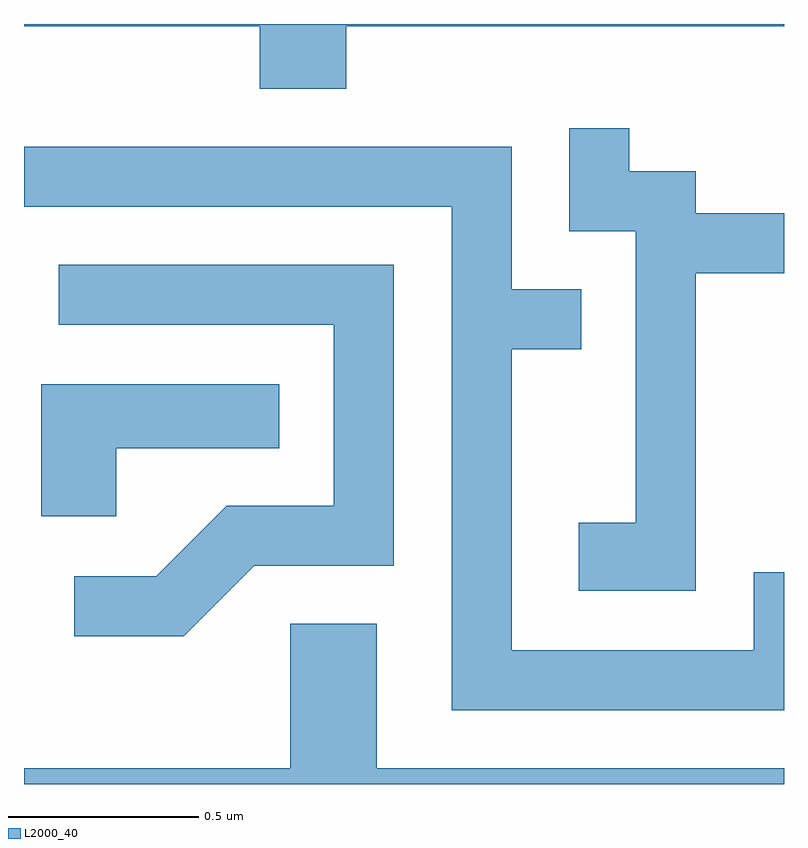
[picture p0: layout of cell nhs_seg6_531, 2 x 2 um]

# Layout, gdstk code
import gdstk
lib = gdstk.Library(unit=1e-6, precision=1e-09)
def P(c, l, *ps):  # polygons
    for p in ps: c.add(gdstk.Polygon(p, *l))
L2000_40 = (2000, 40)

nhs_seg6_531 = lib.new_cell('nhs_seg6_531')
P(nhs_seg6_531, L2000_40, [(189.459,1652.156),(190.611,1652.156),(190.611,1652.162),(188.611,1652.162),(188.611,1652.156),(189.231,1652.156),(189.231,1651.991),(189.459,1651.991)],
  [(190.379,1651.506),(190.611,1651.506),(190.611,1651.664),(190.379,1651.664),(190.379,1651.774),(190.204,1651.774),(190.204,1651.888),(190.046,1651.888),(190.046,1651.616),(190.221,1651.616),(190.221,1650.849),(190.071,1650.849),(190.071,1650.671),(190.379,1650.671)],
  [(190.611,1650.719),(190.531,1650.719),(190.531,1650.514),(189.894,1650.514),(189.894,1651.306),(190.078,1651.306),(190.078,1651.464),(189.894,1651.464),(189.894,1651.839),(188.611,1651.839),(188.611,1651.681),(189.736,1651.681),(189.736,1650.356),(190.611,1650.356)],
  [(189.217,1650.736),(189.584,1650.736),(189.584,1651.529),(188.703,1651.529),(188.703,1651.371),(189.426,1651.371),(189.426,1650.894),(189.144,1650.894),(188.959,1650.709),(188.743,1650.709),(188.743,1650.551),(189.032,1650.551)],
  [(188.854,1651.046),(189.283,1651.046),(189.283,1651.214),(188.656,1651.214),(188.656,1650.866),(188.854,1650.866)],
  [(190.611,1650.204),(189.539,1650.204),(189.539,1650.584),(189.311,1650.584),(189.311,1650.204),(188.611,1650.204),(188.611,1650.162),(190.611,1650.162)])

lib.write_gds('nhs_seg6_531.gds')
